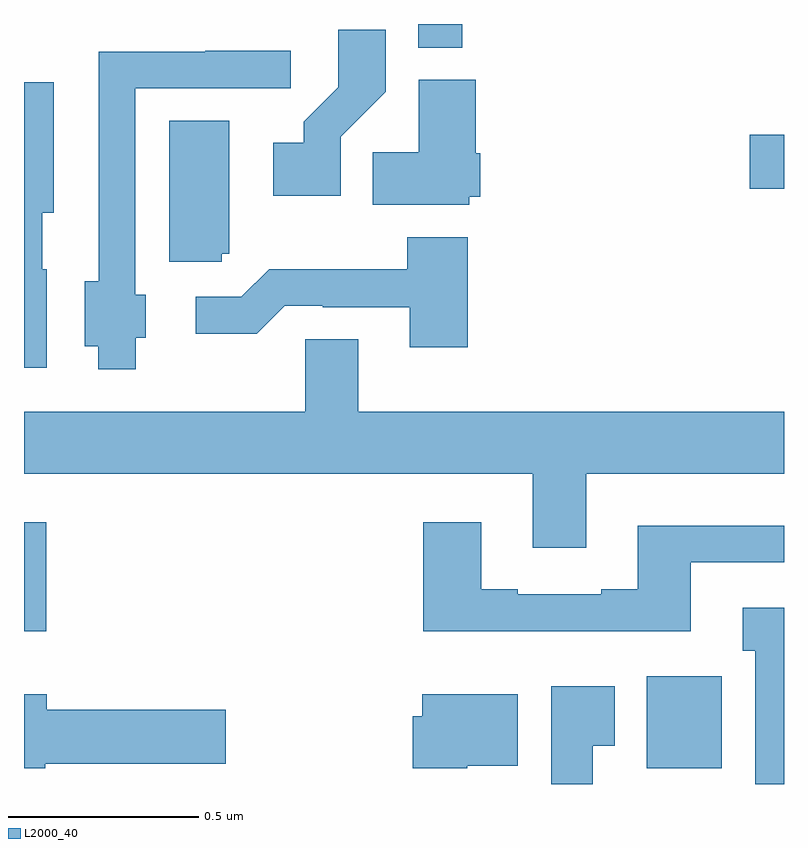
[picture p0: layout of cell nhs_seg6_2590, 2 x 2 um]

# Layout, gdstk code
import gdstk
lib = gdstk.Library(unit=1e-6, precision=1e-09)
def R(c, l, rs):  # rectangles x0, y0, x1, y1
    for r in rs: c.add(gdstk.rectangle(r[:2], r[2:], *l))
def P(c, l, *ps):  # polygons
    for p in ps: c.add(gdstk.Polygon(p, *l))
L2000_40 = (2000, 40)

nhs_seg6_2590 = lib.new_cell('nhs_seg6_2590')
R(nhs_seg6_2590, L2000_40, [(146.639,966.542,146.836,966.784), (145,966.902,145.058,967.189), (146.91,968.066,147,968.208), (146.037,968.438,146.153,968.5)])
P(nhs_seg6_2590, L2000_40, [(145.833,968.203),(145.952,968.322),(145.952,968.485),(145.827,968.485),(145.827,968.333),(145.736,968.243),(145.736,968.188),(145.656,968.188),(145.656,968.048),(145.833,968.048)],
  [(145.294,967.674),(145.321,967.674),(145.321,967.788),(145.293,967.788),(145.293,968.331),(145.702,968.331),(145.702,968.43),(145.477,968.43),(145.477,968.427),(145.197,968.427),(145.197,967.823),(145.16,967.823),(145.16,967.652),(145.196,967.652),(145.196,967.592),(145.294,967.592)],
  [(146.172,968.046),(146.201,968.046),(146.201,968.16),(146.189,968.16),(146.189,968.353),(146.039,968.353),(146.039,968.162),(145.918,968.162),(145.918,968.024),(146.172,968.024)],
  [(145.06,967.854),(145.048,967.854),(145.048,968.003),(145.078,968.003),(145.078,968.347),(145,968.347),(145,967.595),(145.06,967.595)],
  [(145.521,967.896),(145.54,967.896),(145.54,968.245),(145.382,968.245),(145.382,967.875),(145.521,967.875)],
  [(146.168,967.939),(146.008,967.939),(146.008,967.855),(145.645,967.855),(145.572,967.782),(145.452,967.782),(145.452,967.685),(145.613,967.685),(145.686,967.758),(145.786,967.758),(145.786,967.755),(146.015,967.755),(146.015,967.65),(146.168,967.65)],
  [(145.879,967.67),(145.74,967.67),(145.74,967.48),(145,967.48),(145,967.316),(146.339,967.316),(146.339,967.122),(146.479,967.122),(146.479,967.316),(147,967.316),(147,967.48),(145.879,967.48)],
  [(146.755,967.083),(147,967.083),(147,967.18),(146.615,967.18),(146.615,967.012),(146.519,967.012),(146.519,966.999),(146.299,966.999),(146.299,967.012),(146.203,967.012),(146.203,967.189),(146.051,967.189),(146.051,966.902),(146.755,966.902)],
  [(147,966.964),(146.891,966.964),(146.891,966.851),(146.924,966.851),(146.924,966.5),(147,966.5)],
  [(146.497,966.601),(146.554,966.601),(146.554,966.757),(146.387,966.757),(146.387,966.5),(146.497,966.5)],
  [(146.166,966.548),(146.299,966.548),(146.299,966.736),(146.048,966.736),(146.048,966.678),(146.023,966.678),(146.023,966.542),(146.166,966.542)],
  [(145.056,966.553),(145.531,966.553),(145.531,966.695),(145.06,966.695),(145.06,966.736),(145,966.736),(145,966.542),(145.056,966.542)])

lib.write_gds('nhs_seg6_2590.gds')
